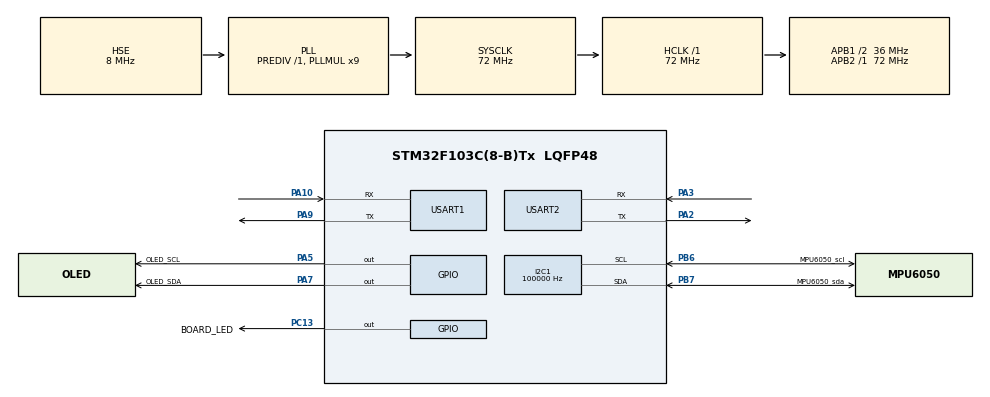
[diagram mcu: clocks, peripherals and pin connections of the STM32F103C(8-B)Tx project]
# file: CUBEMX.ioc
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Dma.Request0=USART1_RX
Dma.USART1_RX.0.Direction=DMA_PERIPH_TO_MEMORY
Dma.USART1_RX.0.Instance=DMA1_Channel5
Dma.USART1_RX.0.MemDataAlignment=DMA_MDATAALIGN_BYTE
Dma.USART1_RX.0.MemInc=DMA_MINC_ENABLE
Dma.USART1_RX.0.Mode=DMA_CIRCULAR
Dma.USART1_RX.0.PeriphDataAlignment=DMA_PDATAALIGN_BYTE
Dma.USART1_RX.0.PeriphInc=DMA_PINC_DISABLE
Dma.USART1_RX.0.Priority=DMA_PRIORITY_HIGH
I2C1.ClockSpeed=100000
I2C1.I2C_Mode=I2C_Standard
Mcu.Family=STM32F1
Mcu.Name=STM32F103C(8-B)Tx
Mcu.Package=LQFP48
NVIC.DMA1_Channel5_IRQn=true\:0\:0\:false\:false\:true\:false\:true\:true
NVIC.I2C1_EV_IRQn=true\:0\:0\:false\:false\:true\:true\:true\:true
NVIC.PriorityGroup=NVIC_PRIORITYGROUP_4
NVIC.TIM2_IRQn=true\:0\:0\:false\:false\:true\:true\:true\:true
NVIC.USART1_IRQn=true\:0\:0\:false\:false\:true\:true\:true\:true
NVIC.USART2_IRQn=true\:0\:0\:false\:false\:true\:true\:true\:true
PA10.Mode=Asynchronous
PA10.Signal=USART1_RX
PA13.Mode=Serial_Wire
PA13.Signal=SYS_JTMS-SWDIO
PA14.Mode=Serial_Wire
PA14.Signal=SYS_JTCK-SWCLK
PA2.Mode=Asynchronous
PA2.Signal=USART2_TX
PA3.Mode=Asynchronous
PA3.Signal=USART2_RX
PA5.GPIO_Label=OLED_SCL
PA5.GPIO_PuPd=GPIO_PULLUP
PA5.GPIO_Speed=GPIO_SPEED_FREQ_HIGH
PA5.PinState=GPIO_PIN_SET
PA5.Signal=GPIO_Output
PA7.GPIO_Label=OLED_SDA
PA7.GPIO_PuPd=GPIO_PULLUP
PA7.GPIO_Speed=GPIO_SPEED_FREQ_HIGH
PA7.PinState=GPIO_PIN_SET
PA7.Signal=GPIO_Output
PA9.Mode=Asynchronous
PA9.Signal=USART1_TX
PB6.GPIO_Label=MPU6050_scl
PB6.Mode=I2C
PB6.Signal=I2C1_SCL
PB7.GPIO_Label=MPU6050_sda
PB7.Mode=I2C
PB7.Signal=I2C1_SDA
PC13-TAMPER-RTC.GPIO_Label=BOARD_LED
PC13-TAMPER-RTC.GPIO_Speed=GPIO_SPEED_FREQ_MEDIUM
PC13-TAMPER-RTC.Signal=GPIO_Output
PC14-OSC32_IN.Mode=LSE-External-Oscillator
PC14-OSC32_IN.Signal=RCC_OSC32_IN
PC15-OSC32_OUT.Mode=LSE-External-Oscillator
PC15-OSC32_OUT.Signal=RCC_OSC32_OUT
PD0-OSC_IN.Mode=HSE-External-Oscillator
PD0-OSC_IN.Signal=RCC_OSC_IN
PD1-OSC_OUT.Mode=HSE-External-Oscillator
PD1-OSC_OUT.Signal=RCC_OSC_OUT
ProjectManager.HeapSize=0x200
ProjectManager.StackSize=0x400
ProjectManager.TargetToolchain=Makefile
RCC.AHBFreq_Value=72000000
RCC.APB1CLKDivider=RCC_HCLK_DIV2
RCC.APB1Freq_Value=36000000
RCC.APB1TimFreq_Value=72000000
RCC.APB2Freq_Value=72000000
RCC.APB2TimFreq_Value=72000000
RCC.HCLKFreq_Value=72000000
RCC.PLLMUL=RCC_PLL_MUL9
RCC.PLLSourceVirtual=RCC_PLLSOURCE_HSE
RCC.SYSCLKFreq_VALUE=72000000
RCC.SYSCLKSource=RCC_SYSCLKSOURCE_PLLCLK
RCC.USBFreq_Value=72000000
TIM2.AutoReloadPreload=TIM_AUTORELOAD_PRELOAD_ENABLE
TIM2.Period=99
TIM2.Prescaler=7199
USART1.VirtualMode=VM_ASYNC
USART2.VirtualMode=VM_ASYNC
VP_TIM2_VS_ClockSourceINT.Mode=Internal
board=custom

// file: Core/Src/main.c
/* USER CODE BEGIN Header */
/**
  ******************************************************************************
  * @file           : main.c
  * @brief          : Main program body
  ******************************************************************************
  * @attention
  *
  * Copyright (c) 2026 STMicroelectronics.
  * All rights reserved.
  *
  * This software is licensed under terms that can be found in the LICENSE file
  * in the root directory of this software component.
  * If no LICENSE file comes with this software, it is provided AS-IS.
  *
  ******************************************************************************
  */
/* USER CODE END Header */
#include "main.h"

/* USER CODE BEGIN Includes */

#include "../oled/driver_ssd1306_display_test.h"
#include "../oled/driver_ssd1306_basic.h"
#include <string.h>
#include <stdio.h>
/* MPU6050 basic example header */
#include "../mpu6050/driver_mpu6050_basic.h"
#include <stdlib.h>
#include "../thingscloud/thingscloud.h"
#include "../thingscloud/esp8266_at.h"
/* USER CODE END Includes */

I2C_HandleTypeDef hi2c1;

TIM_HandleTypeDef htim2;

UART_HandleTypeDef huart1;
UART_HandleTypeDef huart2;
DMA_HandleTypeDef hdma_usart1_rx;

/* USER CODE BEGIN PV */
char buf[80];
int value = 123;
float mpu_g[3]; /* acceleration, g */
float mpu_dps[3]; /* gyroscope, degrees/s */
uint32_t led_cnt=0;
int16_t accel_raw[3] = {0};
int16_t gyro_raw[3] = {0};
float temp_deg = 0;
int temp_tenth = 0;
volatile uint8_t publish_flag = 0;
volatile uint8_t push_data_thingscloud_interval_time = 0;
/* USER CODE END PV */

void SystemClock_Config(void);
static void MX_GPIO_Init(void);
static void MX_DMA_Init(void);
static void MX_USART1_UART_Init(void);
static void MX_USART2_UART_Init(void);
static void MX_I2C1_Init(void);
static void MX_TIM2_Init(void);

extern void esp_start_dma_rx(void);

/* USER CODE BEGIN 0 */
void Get_MPU6050_Data()
{
    uint8_t raw14[14];
    HAL_StatusTypeDef st = HAL_I2C_Mem_Read(&hi2c1, MPU6050_ADDRESS_AD0_LOW, 0x3B, I2C_MEMADD_SIZE_8BIT, raw14, 14, 500);
    if (st == HAL_OK)
    {
        accel_raw[0] = (int16_t)((uint16_t)raw14[0] << 8) | raw14[1];
        accel_raw[1] = (int16_t)((uint16_t)raw14[2] << 8) | raw14[3];
        accel_raw[2] = (int16_t)((uint16_t)raw14[4] << 8) | raw14[5];
        int16_t temp_raw = (int16_t)((uint16_t)raw14[6] << 8) | raw14[7];
        gyro_raw[0] = (int16_t)((uint16_t)raw14[8] << 8) | raw14[9];
        gyro_raw[1] = (int16_t)((uint16_t)raw14[10] << 8) | raw14[11];
        gyro_raw[2] = (int16_t)((uint16_t)raw14[12] << 8) | raw14[13];

        temp_deg = (float)temp_raw / 340.0f + 36.53f;
    }
    else
    {
        HAL_UART_Transmit(&huart2, (uint8_t *)"direct read 0x3B fail\r\n", 24, 1000);
    }

    //mpu6050_basic_read_temperature(&temp_deg);
}

void Dis_MPU6050_Data_On_oled()
{
    int target;

    // 第1行 (y=0): 目标温度（云平台下发的设定值）
    target = thingscloud_get_target_temp();
    ssd1306_basic_rect(0, 32, 127, 32+15, 0);  // 清除第1行残留
    snprintf(buf, sizeof(buf), "Target:%dC", target);
    ssd1306_basic_string(0, 32, buf, (uint16_t)strlen(buf), Oled_dis_Zhengxian, SSD1306_FONT_12);

    // 第2行 (y=16): 当前温度（MPU6050实时读数）
    ssd1306_basic_rect(0, 16, 127, 31, 0);  // 清除第2行残留
    temp_tenth = (int)(temp_deg * 10.0f + (temp_deg >= 0 ? 0.5f : -0.5f));
    snprintf(buf, sizeof(buf), "T:%d.%dC", temp_tenth / 10, abs(temp_tenth % 10));
    ssd1306_basic_string(0, 16, buf, (uint16_t)strlen(buf), Oled_dis_Zhengxian, SSD1306_FONT_12);
}

void Dis_wifi_status_on_oled()
{
    // show WiFi / MQTT status on the bottom line
    char wbuf[48];
    int w = esp_is_wifi_connected();
    int m = esp_is_mqtt_connected();
    int state = esp_get_wifi_state();

    if (w && m)
    {
        snprintf(wbuf, sizeof(wbuf), "W:OK M:OK");
    }
    else if (w)
    {
        snprintf(wbuf, sizeof(wbuf), "W:OK M:--");
    }
    else
    {
        // WiFi not connected - show current state
        switch (state)
        {
            case ESP_WIFI_STATE_TRYING_SAVED:   // Phase 1: 尝试已保存WiFi
                snprintf(wbuf, sizeof(wbuf), "W:SV M:--");
                break;
            case ESP_WIFI_STATE_TRYING_DEFAULT: // Phase 2: 尝试默认WiFi
                snprintf(wbuf, sizeof(wbuf), "W:DF M:--");
                break;
            case ESP_WIFI_STATE_SMARTCONFIG:     // Phase 3: 智能配网中
                snprintf(wbuf, sizeof(wbuf), "W:SC M:--");
                break;
            case ESP_WIFI_STATE_GOT_CRED:        // SmartConfig已获取凭证，正在连接
                snprintf(wbuf, sizeof(wbuf), "W:GOT M:--");
                break;
            case ESP_WIFI_STATE_FAILED:
                snprintf(wbuf, sizeof(wbuf), "W:FAIL M:--");
                break;
            case ESP_WIFI_STATE_CONNECTED:
                snprintf(wbuf, sizeof(wbuf), "W:OK M:--");
                break;
            default:
                snprintf(wbuf, sizeof(wbuf), "W:-- M:--");
                break;
        }
    }
    ssd1306_basic_string(0, 52, wbuf, (uint16_t)strlen(wbuf), Oled_dis_Zhengxian, SSD1306_FONT_12);
}

void Uart_Send_MPU6050_Data()
{
    HAL_UART_Transmit(&huart2, (uint8_t *)"RAW: ", 5, 1000);
    snprintf(buf, sizeof(buf), "Ax=%d,Ay=%d,Az=%d,Gx=%d,Gy=%d,Gz=%d,T=%d.%d\r\n",
    accel_raw[0], accel_raw[1], accel_raw[2], gyro_raw[0], gyro_raw[1], gyro_raw[2], temp_tenth / 10, abs(temp_tenth % 10));
    HAL_UART_Transmit(&huart2, (uint8_t *)buf, (uint16_t)strlen(buf), 1000);
}

void Blink_Board_LED()
{
    led_cnt++;
    if(led_cnt%20000==0)
    {
      HAL_GPIO_TogglePin(BOARD_LED_GPIO_Port, BOARD_LED_Pin);
    }
}

void HAL_TIM_PeriodElapsedCallback(TIM_HandleTypeDef *htim)
{
    if(htim->Instance == TIM2)
    {
        led_cnt++;
        if(led_cnt >= 100) // 10ms × 100 = 1000ms = 1s
        {
            led_cnt = 0;
            //HAL_GPIO_TogglePin(BOARD_LED_GPIO_Port, BOARD_LED_Pin);
            push_data_thingscloud_interval_time++;
            if (push_data_thingscloud_interval_time >= 5) // 5s interval
            {
                push_data_thingscloud_interval_time = 0;
                publish_flag = 1; // signal main loop to publish temperature
            }
        }
    }
}
/* USER CODE END 0 */

int main(void)
{

  HAL_Init();
  SystemClock_Config();
  MX_GPIO_Init();
  MX_DMA_Init();
  MX_USART1_UART_Init();
  MX_USART2_UART_Init();
  esp_start_dma_rx();
  MX_I2C1_Init();
  MX_TIM2_Init();
  /* USER CODE BEGIN 2 */
  HAL_TIM_Base_Start_IT(&htim2); // 启动TIM2并开启更新中断
  ssd1306_basic_init(SSD1306_INTERFACE_IIC, SSD1306_ADDR_SA0_0);
  ssd1306_basic_display_on();
  thingscloud_init();
  if (mpu6050_basic_init(MPU6050_ADDRESS_AD0_LOW) != 0)
  {
    HAL_UART_Transmit(&huart2, (uint8_t *)"MPU6050 init failed\r\n", 21, 1000);
    snprintf(buf, sizeof(buf), "MPU6050 init failed");
    ssd1306_basic_string(0, 0, buf, (uint16_t)strlen(buf), Oled_dis_Zhengxian, SSD1306_FONT_12);
  }
  else
  {
    snprintf(buf, sizeof(buf), "MPU6050 init ok");
    ssd1306_basic_string(0, 0, buf, (uint16_t)strlen(buf), Oled_dis_Zhengxian, SSD1306_FONT_12);
    HAL_Delay(400);
    ssd1306_basic_clear();
  }
  /* USER CODE END 2 */

  /* Infinite loop */
  /* USER CODE BEGIN WHILE */
  while (1)
  {
    Get_MPU6050_Data();
    Dis_MPU6050_Data_On_oled();
    Dis_wifi_status_on_oled();
    //Uart_Send_MPU6050_Data();
    if (publish_flag)
    {
        publish_flag = 0;
        thingscloud_publish_temp(temp_deg);
    }
    thingscloud_poll_and_handle();
    /* USER CODE END WHILE */

  }
}

void SystemClock_Config(void)
{
  RCC_OscInitTypeDef RCC_OscInitStruct = {0};
  RCC_ClkInitTypeDef RCC_ClkInitStruct = {0};

  /** Initializes the RCC Oscillators according to the specified parameters
  * in the RCC_OscInitTypeDef structure.
  */
  RCC_OscInitStruct.OscillatorType = RCC_OSCILLATORTYPE_HSE;
  RCC_OscInitStruct.HSEState = RCC_HSE_ON;
  RCC_OscInitStruct.HSEPredivValue = RCC_HSE_PREDIV_DIV1;
  RCC_OscInitStruct.HSIState = RCC_HSI_ON;
  RCC_OscInitStruct.PLL.PLLState = RCC_PLL_ON;
  RCC_OscInitStruct.PLL.PLLSource = RCC_PLLSOURCE_HSE;
  RCC_OscInitStruct.PLL.PLLMUL = RCC_PLL_MUL9;
  if (HAL_RCC_OscConfig(&RCC_OscInitStruct) != HAL_OK)
  {
    Error_Handler();
  }

  /** Initializes the CPU, AHB and APB buses clocks
  */
  RCC_ClkInitStruct.ClockType = RCC_CLOCKTYPE_HCLK|RCC_CLOCKTYPE_SYSCLK
                              |RCC_CLOCKTYPE_PCLK1|RCC_CLOCKTYPE_PCLK2;
  RCC_ClkInitStruct.SYSCLKSource = RCC_SYSCLKSOURCE_PLLCLK;
  RCC_ClkInitStruct.AHBCLKDivider = RCC_SYSCLK_DIV1;
  RCC_ClkInitStruct.APB1CLKDivider = RCC_HCLK_DIV2;
  RCC_ClkInitStruct.APB2CLKDivider = RCC_HCLK_DIV1;

  if (HAL_RCC_ClockConfig(&RCC_ClkInitStruct, FLASH_LATENCY_2) != HAL_OK)
  {
    Error_Handler();
  }
}

static void MX_I2C1_Init(void)
{

  hi2c1.Instance = I2C1;
  hi2c1.Init.ClockSpeed = 100000;
  hi2c1.Init.DutyCycle = I2C_DUTYCYCLE_2;
  hi2c1.Init.OwnAddress1 = 0;
  hi2c1.Init.AddressingMode = I2C_ADDRESSINGMODE_7BIT;
  hi2c1.Init.DualAddressMode = I2C_DUALADDRESS_DISABLE;
  hi2c1.Init.OwnAddress2 = 0;
  hi2c1.Init.GeneralCallMode = I2C_GENERALCALL_DISABLE;
  hi2c1.Init.NoStretchMode = I2C_NOSTRETCH_DISABLE;
  if (HAL_I2C_Init(&hi2c1) != HAL_OK)
  {
    Error_Handler();
  }

}

static void MX_TIM2_Init(void)
{

  TIM_ClockConfigTypeDef sClockSourceConfig = {0};
  TIM_MasterConfigTypeDef sMasterConfig = {0};

  htim2.Instance = TIM2;
  htim2.Init.Prescaler = 7199;
  htim2.Init.CounterMode = TIM_COUNTERMODE_UP;
  htim2.Init.Period = 99;
  htim2.Init.ClockDivision = TIM_CLOCKDIVISION_DIV1;
  htim2.Init.AutoReloadPreload = TIM_AUTORELOAD_PRELOAD_ENABLE;
  if (HAL_TIM_Base_Init(&htim2) != HAL_OK)
  {
    Error_Handler();
  }
  sClockSourceConfig.ClockSource = TIM_CLOCKSOURCE_INTERNAL;
  if (HAL_TIM_ConfigClockSource(&htim2, &sClockSourceConfig) != HAL_OK)
  {
    Error_Handler();
  }
  sMasterConfig.MasterOutputTrigger = TIM_TRGO_RESET;
  sMasterConfig.MasterSlaveMode = TIM_MASTERSLAVEMODE_DISABLE;
  if (HAL_TIMEx_MasterConfigSynchronization(&htim2, &sMasterConfig) != HAL_OK)
  {
    Error_Handler();
  }

}

static void MX_USART1_UART_Init(void)
{

  huart1.Instance = USART1;
  huart1.Init.BaudRate = 115200;
  huart1.Init.WordLength = UART_WORDLENGTH_8B;
  huart1.Init.StopBits = UART_STOPBITS_1;
  huart1.Init.Parity = UART_PARITY_NONE;
  huart1.Init.Mode = UART_MODE_TX_RX;
  huart1.Init.HwFlowCtl = UART_HWCONTROL_NONE;
  huart1.Init.OverSampling = UART_OVERSAMPLING_16;
  if (HAL_UART_Init(&huart1) != HAL_OK)
  {
    Error_Handler();
  }

}

static void MX_USART2_UART_Init(void)
{

  huart2.Instance = USART2;
  huart2.Init.BaudRate = 115200;
  huart2.Init.WordLength = UART_WORDLENGTH_8B;
  huart2.Init.StopBits = UART_STOPBITS_1;
  huart2.Init.Parity = UART_PARITY_NONE;
  huart2.Init.Mode = UART_MODE_TX_RX;
  huart2.Init.HwFlowCtl = UART_HWCONTROL_NONE;
  huart2.Init.OverSampling = UART_OVERSAMPLING_16;
  if (HAL_UART_Init(&huart2) != HAL_OK)
  {
    Error_Handler();
  }

}

static void MX_DMA_Init(void)
{

  /* DMA controller clock enable */
  __HAL_RCC_DMA1_CLK_ENABLE();

  /* DMA interrupt init */
  /* DMA1_Channel5_IRQn interrupt configuration */
  HAL_NVIC_SetPriority(DMA1_Channel5_IRQn, 0, 0);
  HAL_NVIC_EnableIRQ(DMA1_Channel5_IRQn);

}

static void MX_GPIO_Init(void)
{
  GPIO_InitTypeDef GPIO_InitStruct = {0};

  /* GPIO Ports Clock Enable */
  __HAL_RCC_GPIOC_CLK_ENABLE();
  __HAL_RCC_GPIOD_CLK_ENABLE();
  __HAL_RCC_GPIOA_CLK_ENABLE();
  __HAL_RCC_GPIOB_CLK_ENABLE();

  /*Configure GPIO pin Output Level */
  HAL_GPIO_WritePin(BOARD_LED_GPIO_Port, BOARD_LED_Pin, GPIO_PIN_RESET);

  /*Configure GPIO pin Output Level */
  HAL_GPIO_WritePin(GPIOA, OLED_SCL_Pin|OLED_SDA_Pin, GPIO_PIN_SET);

  /*Configure GPIO pin : BOARD_LED_Pin */
  GPIO_InitStruct.Pin = BOARD_LED_Pin;
  GPIO_InitStruct.Mode = GPIO_MODE_OUTPUT_PP;
  GPIO_InitStruct.Pull = GPIO_NOPULL;
  GPIO_InitStruct.Speed = GPIO_SPEED_FREQ_MEDIUM;
  HAL_GPIO_Init(BOARD_LED_GPIO_Port, &GPIO_InitStruct);

  /*Configure GPIO pins : OLED_SCL_Pin OLED_SDA_Pin */
  GPIO_InitStruct.Pin = OLED_SCL_Pin|OLED_SDA_Pin;
  GPIO_InitStruct.Mode = GPIO_MODE_OUTPUT_PP;
  GPIO_InitStruct.Pull = GPIO_PULLUP;
  GPIO_InitStruct.Speed = GPIO_SPEED_FREQ_HIGH;
  HAL_GPIO_Init(GPIOA, &GPIO_InitStruct);

}

void Error_Handler(void)
{
  __disable_irq();
  while (1)
  {
  }
}
